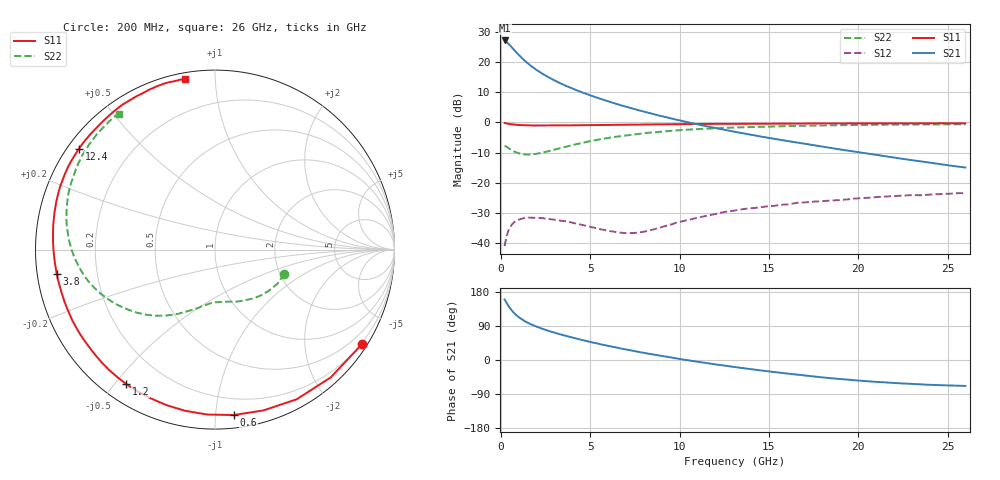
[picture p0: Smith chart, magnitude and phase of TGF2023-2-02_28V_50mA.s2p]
!Data measured by Modelithics Inc.  support@modelithics.com  813-866-6335  Tampa FL USA
!  2-Port S-parameters saved by WinCal
! VAR MeasName=S-Parameters (CALIBRATED_DATA) read from VNA (N5247A)
! VAR MeasDate=6/27/2013 3:17:11 PM
! VAR NAME=Measurement 3
! VAR FILENAME=2p5mm_task1_28p1Vds_m2p92Vgs_50mA_25C_S8.s2p
! VAR DATE=6/27/2013 3:17:11 PM
! VAR PHYS_PORTS=1,2
# Hz S RI R 50
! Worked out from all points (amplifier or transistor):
!   259 points, 200 MHz to 26 GHz, reference 50 ohm
!   highest |S21| = 27.1 dB at 200 MHz (marker M1)
!   |S21| within 3 dB of that: start of sweep to 712.1 MHz
!   unconditionally stable (mu >= 1): 5.128 GHz to 9.782 GHz
!   at 4.5 GHz: K = 0.83, MSG = 21.9 dB, |S12| = -33.8 dB
!   at 13.1 GHz: K = 0.57, MSG = 13.0 dB, |S12| = -29.1 dB
!   at 26 GHz: K = 0.26, MSG = 4.2 dB, |S12| = -23.4 dB
!   S11 on the Smith chart (normalised r, x): 200 MHz: 0.17, -3.38; 600 MHz: 0.08, -1.12; 1.2 GHz: 0.07, -0.53; 3.8 GHz: 0.06, -0.08; 12.4 GHz: 0.03, +0.33; 26 GHz: 0.03, +0.84
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2e8  0.8176 -0.5286  -21.16 7.81  0.00294 0.00848  0.3861 -0.1346
3e8  0.6446 -0.7122  -18.76 10.18  0.00575 0.0114  0.3477 -0.19
4e8  0.4553 -0.8338  -16.24 11.93  0.00888 0.0131  0.2997 -0.2297
5e8  0.2703 -0.8959  -13.69 12.79  0.0118 0.014  0.2583 -0.254
6e8  0.105 -0.9218  -11.38 13.14  0.0145 0.0143  0.2176 -0.2711
7e8  -0.0435 -0.9189  -9.353 13.12  0.0168 0.014  0.1805 -0.2789
9e8  -0.2718 -0.866  -6.196 12.43  0.0203 0.0128  0.1243 -0.2895
1e9  -0.3599 -0.828  -5.005 11.94  0.0215 0.0121  0.1016 -0.2897
1.2e9  -0.4959 -0.7483  -3.181 10.86  0.0235 0.0107  0.0657 -0.2894
1.4e9  -0.5933 -0.6676  -1.854 9.832  0.0248 0.00909  0.0347 -0.2923
1.6e9  -0.6613 -0.5936  -0.9182 8.887  0.0255 0.00758  0.0104 -0.2936
2.1e9  -0.7673 -0.4452  0.482 6.968  0.0259 0.00492  -0.0388 -0.3042
2.9e9  -0.8445 -0.2722  1.458 4.883  0.0247 0.00225  -0.111 -0.331
3.8e9  -0.8815 -0.1358  1.823 3.366  0.0226 0.000815  -0.1968 -0.3554
4.5e9  -0.8948 -0.0524  1.897 2.534  0.0203 0.000864  -0.2695 -0.3671
6.3e9  -0.902 0.1184  1.724 1.173  0.015 0.00406  -0.4552 -0.3451
8.8e9  -0.8737 0.3126  1.276 0.2745  0.0116 0.0136  -0.6592 -0.2257
1.24e10  -0.7586 0.5616  0.7386 -0.1862  0.0192 0.0263  -0.806 0.0241
1.31e10  -0.7254 0.6058  0.6593 -0.2229  0.0217 0.0273  -0.8174 0.0736
1.74e10  -0.4868 0.8257  0.31 -0.2894  0.0388 0.0292  -0.8044 0.3626
2.17e10  -0.2706 0.9288  0.1353 -0.2336  0.0548 0.0238  -0.6975 0.5907
2.6e10  -0.166 0.9477  0.0658 -0.1668  0.066 0.0146  -0.5361 0.7579
